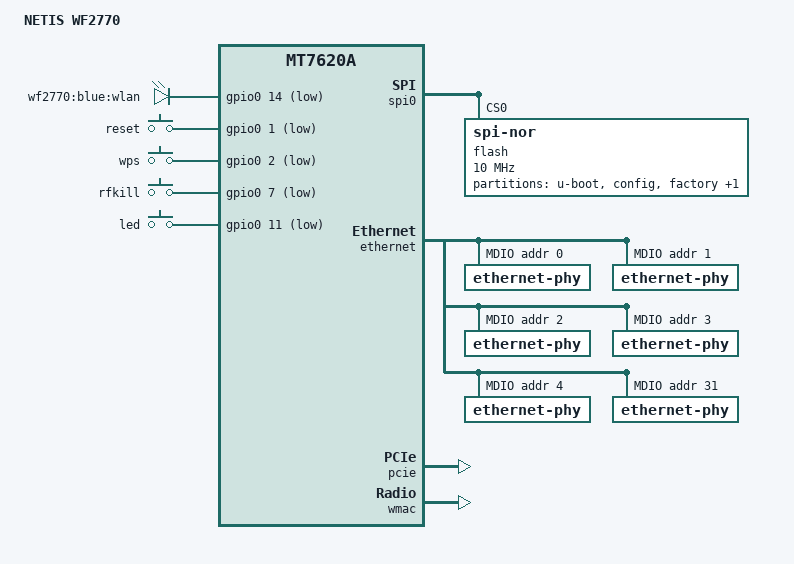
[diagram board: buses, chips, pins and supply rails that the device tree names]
/dts-v1/;

#include "mt7620a.dtsi"

#include <dt-bindings/gpio/gpio.h>
#include <dt-bindings/input/input.h>

/ {
	compatible = "netis,wf2770", "ralink,mt7620a-soc";
	model = "NETIS WF2770";

	gpio-leds {
		compatible = "gpio-leds";

		wlan {
			label = "wf2770:blue:wlan";
			gpios = <&gpio0 14 GPIO_ACTIVE_LOW>;
		};
	};

	gpio-keys-polled {
		compatible = "gpio-keys-polled";
		#address-cells = <1>;
		#size-cells = <0>;
		poll-interval = <20>;

		reset {
			label = "reset";
			gpios = <&gpio0 1 GPIO_ACTIVE_LOW>;
			linux,code = <KEY_RESTART>;
		};

		wps {
			label = "wps";
			gpios = <&gpio0 2 GPIO_ACTIVE_LOW>;
			linux,code = <KEY_WPS_BUTTON>;
		};

		rfkill {
			label = "rfkill";
			gpios = <&gpio0 7 GPIO_ACTIVE_LOW>;
			linux,code = <KEY_RFKILL>;
		};

		led {
			label = "led";
			gpios = <&gpio0 11 GPIO_ACTIVE_LOW>;
			linux,code = <KEY_LIGHTS_TOGGLE>;
		};
	};
};

&gpio0 {
	status = "okay";
};

&spi0 {
	status = "okay";

	flash@0 {
		#address-cells = <1>;
		#size-cells = <1>;
		compatible = "jedec,spi-nor";
		reg = <0>;
		spi-max-frequency = <10000000>;

		partition@0 {
			label = "u-boot";
			reg = <0x0 0x30000>;
			read-only;
		};

		partition@30000 {
			label = "config";
			reg = <0x30000 0x10000>;
			read-only;
		};

		factory: partition@40000 {
			label = "factory";
			reg = <0x40000 0x10000>;
			read-only;
		};

		partition@50000 {
			label = "firmware";
			reg = <0x50000 0xfb0000>;
		};
	};
};

&pinctrl {
	state_default: pinctrl0 {
		gpio {
			ralink,group = "i2c", "uartf";
			ralink,function = "gpio";
		};
	};
};

&ethernet {
	pinctrl-names = "default";
	pinctrl-0 = <&rgmii1_pins &mdio_pins>;
	mtd-mac-address = <&factory 0x4>;

	port@5 {
		status = "okay";
		mediatek,fixed-link = <1000 1 1 1>;
		phy-mode = "rgmii";
	};

	mdio-bus {
		status = "okay";

		ethernet-phy@0 {
			reg = <0>;
			phy-mode = "rgmii";
		};

		ethernet-phy@1 {
			reg = <1>;
			phy-mode = "rgmii";
		};

		ethernet-phy@2 {
			reg = <2>;
			phy-mode = "rgmii";
		};

		ethernet-phy@3 {
			reg = <3>;
			phy-mode = "rgmii";
		};

		ethernet-phy@4 {
			reg = <4>;
			phy-mode = "rgmii";
		};

		ethernet-phy@1f {
			reg = <0x1f>;
			phy-mode = "rgmii";
		};
	};
};

&pcie {
	status = "okay";

	/* MT7610EN is not supported by mt76 on OpenWrt 18.06.1! */
	pcie-bridge {
		mt76@1,0 {
			reg = <0x0000 0 0 0 0>;
			device_type = "pci";
			mediatek,mtd-eeprom = <&factory 0x8000>;
			ieee80211-freq-limit = <5000000 6000000>;
		};
	};
};

&wmac {
	ralink,mtd-eeprom = <&factory 0x0>;
};
